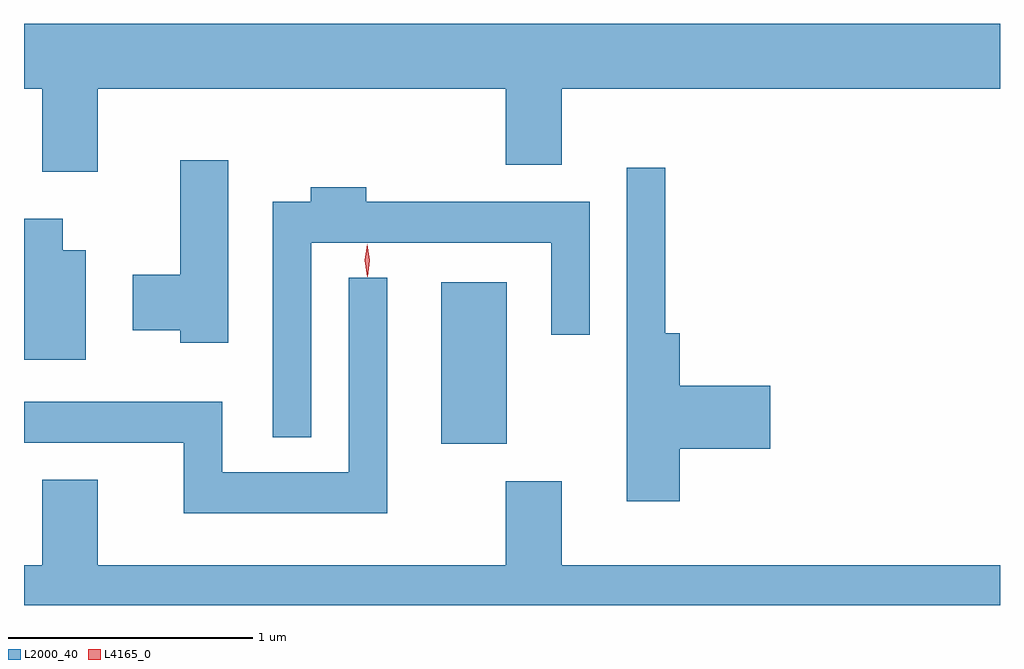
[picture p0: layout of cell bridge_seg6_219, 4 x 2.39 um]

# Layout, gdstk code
import gdstk
lib = gdstk.Library(unit=1e-6, precision=1e-09)
def R(c, l, rs):  # rectangles x0, y0, x1, y1
    for r in rs: c.add(gdstk.rectangle(r[:2], r[2:], *l))
def P(c, l, *ps):  # polygons
    for p in ps: c.add(gdstk.Polygon(p, *l))
L2000_40 = (2000, 40)
L4165_0 = (4165, 0)

bridge_seg6_219 = lib.new_cell('bridge_seg6_219')
R(bridge_seg6_219, L2000_40, [(1102.516,1550.801,1102.784,1551.464)])
P(bridge_seg6_219, L2000_40, [(1101.109,1552.256),(1102.781,1552.256),(1102.781,1551.946),(1103.009,1551.946),(1103.009,1552.256),(1104.806,1552.256),(1104.806,1552.524),(1100.806,1552.524),(1100.806,1552.256),(1100.881,1552.256),(1100.881,1551.916),(1101.109,1551.916)],
  [(1101.644,1551.964),(1101.446,1551.964),(1101.446,1551.494),(1101.251,1551.494),(1101.251,1551.266),(1101.446,1551.266),(1101.446,1551.216),(1101.644,1551.216)],
  [(1103.494,1550.781),(1103.864,1550.781),(1103.864,1551.039),(1103.494,1551.039),(1103.494,1551.254),(1103.434,1551.254),(1103.434,1551.933),(1103.276,1551.933),(1103.276,1550.566),(1103.494,1550.566)],
  [(1101.984,1551.626),(1102.966,1551.626),(1102.966,1551.248),(1103.124,1551.248),(1103.124,1551.794),(1102.209,1551.794),(1102.209,1551.854),(1101.981,1551.854),(1101.981,1551.794),(1101.826,1551.794),(1101.826,1550.828),(1101.984,1550.828)],
  [(1101.059,1551.594),(1100.964,1551.594),(1100.964,1551.724),(1100.806,1551.724),(1100.806,1551.146),(1101.059,1551.146)],
  [(1102.294,1551.483),(1102.136,1551.483),(1102.136,1550.684),(1101.619,1550.684),(1101.619,1550.974),(1100.806,1550.974),(1100.806,1550.806),(1101.461,1550.806),(1101.461,1550.516),(1102.294,1550.516)],
  [(1104.806,1550.304),(1103.009,1550.304),(1103.009,1550.649),(1102.781,1550.649),(1102.781,1550.304),(1101.109,1550.304),(1101.109,1550.654),(1100.881,1550.654),(1100.881,1550.304),(1100.806,1550.304),(1100.806,1550.139),(1104.806,1550.139)])
P(bridge_seg6_219, L4165_0, [(1102.212,1551.487),(1102.203,1551.554),(1102.212,1551.62),(1102.212,1551.62),(1102.213,1551.62),(1102.223,1551.554),(1102.214,1551.487),(1102.213,1551.487)])

lib.write_gds('bridge_seg6_219.gds')
